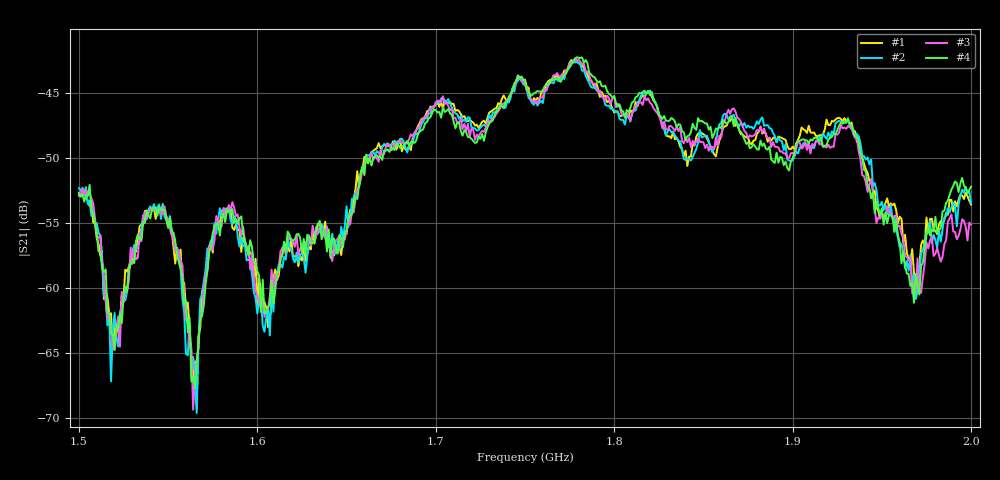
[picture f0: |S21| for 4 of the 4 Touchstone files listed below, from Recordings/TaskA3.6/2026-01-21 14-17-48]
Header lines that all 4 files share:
! NanoVNA-App by SYSJOINT et al v1.1.209 (+OD18)
! Start: 1,5GHz Stop: 2GHz Points: 501
! S-Parameter data: F S11 S21 S12 S22
# Hz S RI R 50
!  Frequency  S11_Real  S11_Imag  S21_Real  S21_Imag  S12_Real  S12_Imag  S22_Real  S22_Imag
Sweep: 1.5 GHz to 2 GHz
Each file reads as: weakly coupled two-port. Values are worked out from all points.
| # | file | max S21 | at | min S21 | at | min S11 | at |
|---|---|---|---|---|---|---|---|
| 1 | 0.s2p | -42.32 dB | 1.778 GHz | -69.3 dB | 1.566 GHz | -30.4 dB | 1.817 GHz |
| 2 | 1.s2p | -42.45 dB | 1.777 GHz | -69.6 dB | 1.566 GHz | -30.3 dB | 1.817 GHz |
| 3 | 2.s2p | -42.41 dB | 1.78 GHz | -69.4 dB | 1.564 GHz | -30.3 dB | 1.817 GHz |
| 4 | 3.s2p | -42.24 dB | 1.779 GHz | -67.7 dB | 1.565 GHz | -30.1 dB | 1.816 GHz |
